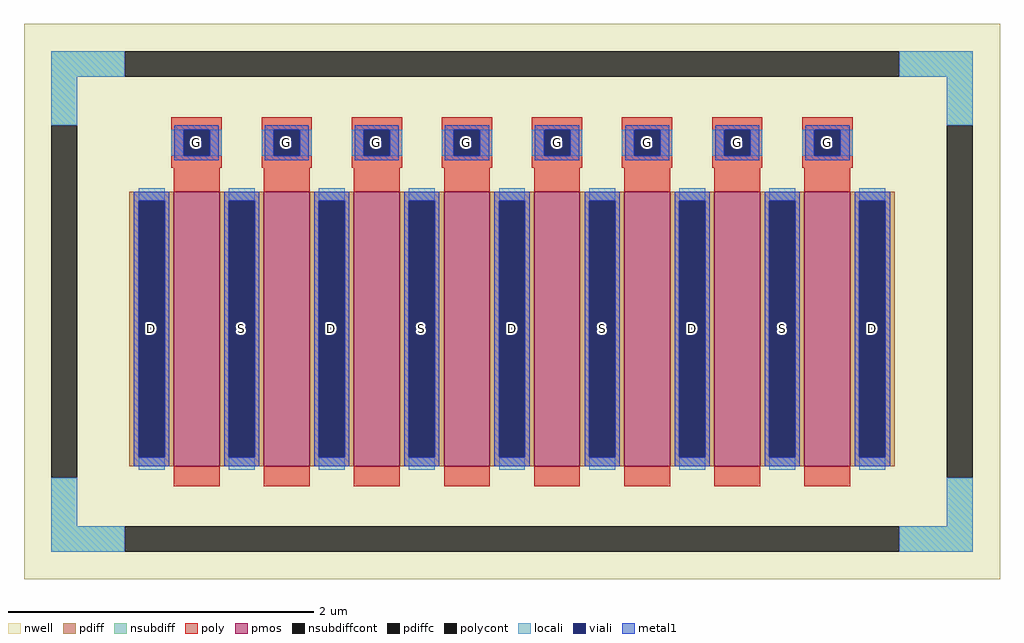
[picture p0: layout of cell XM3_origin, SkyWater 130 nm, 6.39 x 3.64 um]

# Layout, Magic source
magic
tech sky130A
magscale 1 2
<< nwell >>
rect -639 -364 639 364
<< pmos >>
rect -443 -216 -383 144
rect -325 -216 -265 144
rect -207 -216 -147 144
rect -89 -216 -29 144
rect 29 -216 89 144
rect 147 -216 207 144
rect 265 -216 325 144
rect 383 -216 443 144
<< pdiff >>
rect -501 132 -443 144
rect -501 -204 -489 132
rect -455 -204 -443 132
rect -501 -216 -443 -204
rect -383 132 -325 144
rect -383 -204 -371 132
rect -337 -204 -325 132
rect -383 -216 -325 -204
rect -265 132 -207 144
rect -265 -204 -253 132
rect -219 -204 -207 132
rect -265 -216 -207 -204
rect -147 132 -89 144
rect -147 -204 -135 132
rect -101 -204 -89 132
rect -147 -216 -89 -204
rect -29 132 29 144
rect -29 -204 -17 132
rect 17 -204 29 132
rect -29 -216 29 -204
rect 89 132 147 144
rect 89 -204 101 132
rect 135 -204 147 132
rect 89 -216 147 -204
rect 207 132 265 144
rect 207 -204 219 132
rect 253 -204 265 132
rect 207 -216 265 -204
rect 325 132 383 144
rect 325 -204 337 132
rect 371 -204 383 132
rect 325 -216 383 -204
rect 443 132 501 144
rect 443 -204 455 132
rect 489 -204 501 132
rect 443 -216 501 -204
<< pdiffc >>
rect -489 -204 -455 132
rect -371 -204 -337 132
rect -253 -204 -219 132
rect -135 -204 -101 132
rect -17 -204 17 132
rect 101 -204 135 132
rect 219 -204 253 132
rect 337 -204 371 132
rect 455 -204 489 132
<< nsubdiff >>
rect -603 294 -507 328
rect 507 294 603 328
rect -603 231 -569 294
rect 569 231 603 294
rect -603 -294 -569 -231
rect 569 -294 603 -231
rect -603 -328 -507 -294
rect 507 -328 603 -294
<< nsubdiffcont >>
rect -507 294 507 328
rect -603 -231 -569 231
rect 569 -231 603 231
rect -507 -328 507 -294
<< poly >>
rect -446 225 -380 241
rect -446 191 -430 225
rect -396 191 -380 225
rect -446 175 -380 191
rect -328 225 -262 241
rect -328 191 -312 225
rect -278 191 -262 225
rect -328 175 -262 191
rect -210 225 -144 241
rect -210 191 -194 225
rect -160 191 -144 225
rect -210 175 -144 191
rect -92 225 -26 241
rect -92 191 -76 225
rect -42 191 -26 225
rect -92 175 -26 191
rect 26 225 92 241
rect 26 191 42 225
rect 76 191 92 225
rect 26 175 92 191
rect 144 225 210 241
rect 144 191 160 225
rect 194 191 210 225
rect 144 175 210 191
rect 262 225 328 241
rect 262 191 278 225
rect 312 191 328 225
rect 262 175 328 191
rect 380 225 446 241
rect 380 191 396 225
rect 430 191 446 225
rect 380 175 446 191
rect -443 144 -383 175
rect -325 144 -265 175
rect -207 144 -147 175
rect -89 144 -29 175
rect 29 144 89 175
rect 147 144 207 175
rect 265 144 325 175
rect 383 144 443 175
rect -443 -242 -383 -216
rect -325 -242 -265 -216
rect -207 -242 -147 -216
rect -89 -242 -29 -216
rect 29 -242 89 -216
rect 147 -242 207 -216
rect 265 -242 325 -216
rect 383 -242 443 -216
<< polycont >>
rect -430 191 -396 225
rect -312 191 -278 225
rect -194 191 -160 225
rect -76 191 -42 225
rect 42 191 76 225
rect 160 191 194 225
rect 278 191 312 225
rect 396 191 430 225
<< locali >>
rect -603 294 -507 328
rect 507 294 603 328
rect -603 231 -569 294
rect 569 231 603 294
rect -446 191 -430 225
rect -396 191 -380 225
rect -328 191 -312 225
rect -278 191 -262 225
rect -210 191 -194 225
rect -160 191 -144 225
rect -92 191 -76 225
rect -42 191 -26 225
rect 26 191 42 225
rect 76 191 92 225
rect 144 191 160 225
rect 194 191 210 225
rect 262 191 278 225
rect 312 191 328 225
rect 380 191 396 225
rect 430 191 446 225
rect -489 132 -455 148
rect -489 -220 -455 -204
rect -371 132 -337 148
rect -371 -220 -337 -204
rect -253 132 -219 148
rect -253 -220 -219 -204
rect -135 132 -101 148
rect -135 -220 -101 -204
rect -17 132 17 148
rect -17 -220 17 -204
rect 101 132 135 148
rect 101 -220 135 -204
rect 219 132 253 148
rect 219 -220 253 -204
rect 337 132 371 148
rect 337 -220 371 -204
rect 455 132 489 148
rect 455 -220 489 -204
rect -603 -294 -569 -231
rect 569 -294 603 -231
rect -603 -328 -507 -294
rect 507 -328 603 -294
<< viali >>
rect -430 191 -396 225
rect -312 191 -278 225
rect -194 191 -160 225
rect -76 191 -42 225
rect 42 191 76 225
rect 160 191 194 225
rect 278 191 312 225
rect 396 191 430 225
rect -489 -204 -455 132
rect -371 -204 -337 132
rect -253 -204 -219 132
rect -135 -204 -101 132
rect -17 -204 17 132
rect 101 -204 135 132
rect 219 -204 253 132
rect 337 -204 371 132
rect 455 -204 489 132
<< metal1 >>
rect -442 225 -384 231
rect -442 191 -430 225
rect -396 191 -384 225
rect -442 185 -384 191
rect -324 225 -266 231
rect -324 191 -312 225
rect -278 191 -266 225
rect -324 185 -266 191
rect -206 225 -148 231
rect -206 191 -194 225
rect -160 191 -148 225
rect -206 185 -148 191
rect -88 225 -30 231
rect -88 191 -76 225
rect -42 191 -30 225
rect -88 185 -30 191
rect 30 225 88 231
rect 30 191 42 225
rect 76 191 88 225
rect 30 185 88 191
rect 148 225 206 231
rect 148 191 160 225
rect 194 191 206 225
rect 148 185 206 191
rect 266 225 324 231
rect 266 191 278 225
rect 312 191 324 225
rect 266 185 324 191
rect 384 225 442 231
rect 384 191 396 225
rect 430 191 442 225
rect 384 185 442 191
rect -495 132 -449 144
rect -495 -204 -489 132
rect -455 -204 -449 132
rect -495 -216 -449 -204
rect -377 132 -331 144
rect -377 -204 -371 132
rect -337 -204 -331 132
rect -377 -216 -331 -204
rect -259 132 -213 144
rect -259 -204 -253 132
rect -219 -204 -213 132
rect -259 -216 -213 -204
rect -141 132 -95 144
rect -141 -204 -135 132
rect -101 -204 -95 132
rect -141 -216 -95 -204
rect -23 132 23 144
rect -23 -204 -17 132
rect 17 -204 23 132
rect -23 -216 23 -204
rect 95 132 141 144
rect 95 -204 101 132
rect 135 -204 141 132
rect 95 -216 141 -204
rect 213 132 259 144
rect 213 -204 219 132
rect 253 -204 259 132
rect 213 -216 259 -204
rect 331 132 377 144
rect 331 -204 337 132
rect 371 -204 377 132
rect 331 -216 377 -204
rect 449 132 495 144
rect 449 -204 455 132
rect 489 -204 495 132
rect 449 -216 495 -204
<< labels >>
flabel metal1 -413 208 -413 208 0 FreeSans 240 0 0 0 G
flabel metal1 -295 208 -295 208 0 FreeSans 240 0 0 0 G
flabel metal1 -177 208 -177 208 0 FreeSans 240 0 0 0 G
flabel metal1 -59 208 -59 208 0 FreeSans 240 0 0 0 G
flabel metal1 59 208 59 208 0 FreeSans 240 0 0 0 G
flabel metal1 177 208 177 208 0 FreeSans 240 0 0 0 G
flabel metal1 295 208 295 208 0 FreeSans 240 0 0 0 G
flabel metal1 413 208 413 208 0 FreeSans 240 0 0 0 G
flabel metal1 -472 -36 -472 -36 0 FreeSans 240 0 0 0 D
flabel metal1 -354 -36 -354 -36 0 FreeSans 240 0 0 0 S
flabel metal1 -236 -36 -236 -36 0 FreeSans 240 0 0 0 D
flabel metal1 -118 -36 -118 -36 0 FreeSans 240 0 0 0 S
flabel metal1 0 -36 0 -36 0 FreeSans 240 0 0 0 D
flabel metal1 118 -36 118 -36 0 FreeSans 240 0 0 0 S
flabel metal1 236 -36 236 -36 0 FreeSans 240 0 0 0 D
flabel metal1 354 -36 354 -36 0 FreeSans 240 0 0 0 S
flabel metal1 472 -36 472 -36 0 FreeSans 240 0 0 0 D
<< properties >>
string FIXED_BBOX -586 -311 586 311
<< end >>
